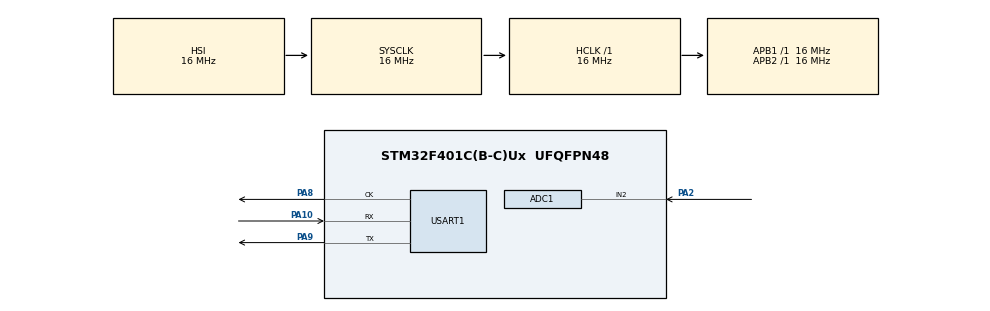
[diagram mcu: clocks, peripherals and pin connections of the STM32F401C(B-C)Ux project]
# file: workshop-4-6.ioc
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ADC1.Channel-0\#ChannelRegularConversion=ADC_CHANNEL_2
ADC1.NbrOfConversionFlag=1
ADC1.Rank-0\#ChannelRegularConversion=1
ADC1.SamplingTime-0\#ChannelRegularConversion=ADC_SAMPLETIME_3CYCLES
ADC1.master=1
Dma.ADC1.0.Direction=DMA_PERIPH_TO_MEMORY
Dma.ADC1.0.FIFOMode=DMA_FIFOMODE_DISABLE
Dma.ADC1.0.Instance=DMA2_Stream0
Dma.ADC1.0.MemDataAlignment=DMA_MDATAALIGN_HALFWORD
Dma.ADC1.0.MemInc=DMA_MINC_ENABLE
Dma.ADC1.0.Mode=DMA_CIRCULAR
Dma.ADC1.0.PeriphDataAlignment=DMA_PDATAALIGN_HALFWORD
Dma.ADC1.0.PeriphInc=DMA_PINC_DISABLE
Dma.ADC1.0.Priority=DMA_PRIORITY_LOW
Dma.Request0=ADC1
Dma.Request1=USART1_TX
Dma.USART1_TX.1.Direction=DMA_MEMORY_TO_PERIPH
Dma.USART1_TX.1.FIFOMode=DMA_FIFOMODE_DISABLE
Dma.USART1_TX.1.Instance=DMA2_Stream7
Dma.USART1_TX.1.MemDataAlignment=DMA_MDATAALIGN_BYTE
Dma.USART1_TX.1.MemInc=DMA_MINC_ENABLE
Dma.USART1_TX.1.Mode=DMA_NORMAL
Dma.USART1_TX.1.PeriphDataAlignment=DMA_PDATAALIGN_BYTE
Dma.USART1_TX.1.PeriphInc=DMA_PINC_DISABLE
Dma.USART1_TX.1.Priority=DMA_PRIORITY_LOW
Mcu.Family=STM32F4
Mcu.Name=STM32F401C(B-C)Ux
Mcu.Package=UFQFPN48
NVIC.DMA2_Stream0_IRQn=true\:0\:0\:false\:false\:true\:false\:true\:true
NVIC.DMA2_Stream7_IRQn=true\:0\:0\:false\:false\:true\:false\:true\:true
NVIC.PriorityGroup=NVIC_PRIORITYGROUP_4
NVIC.USART1_IRQn=true\:0\:0\:false\:false\:true\:false\:true\:true
PA10.Mode=Synchronous
PA10.Signal=USART1_RX
PA2.Signal=ADCx_IN2
PA8.Mode=Synchronous
PA8.Signal=USART1_CK
PA9.Mode=Synchronous
PA9.Signal=USART1_TX
ProjectManager.HeapSize=0x200
ProjectManager.StackSize=0x400
ProjectManager.TargetToolchain=STM32CubeIDE
RCC.AHBFreq_Value=16000000
RCC.APB1Freq_Value=16000000
RCC.APB2Freq_Value=16000000
RCC.CortexFreq_Value=16000000
RCC.HSE_VALUE=25000000
RCC.HSI_VALUE=16000000
RCC.LSE_VALUE=32768
RCC.SYSCLKFreq_VALUE=16000000
RCC.VCOOutputFreq_Value=192000000
SH.ADCx_IN2.0=ADC1_IN2,IN2
USART1.VirtualMode=VM_SYNC
board=custom

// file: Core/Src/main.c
/* USER CODE BEGIN Header */
/**
  ******************************************************************************
  * @file           : main.c
  * @brief          : Main program body
  ******************************************************************************
  * @attention
  *
  * Copyright (c) 2026 STMicroelectronics.
  * All rights reserved.
  *
  * This software is licensed under terms that can be found in the LICENSE file
  * in the root directory of this software component.
  * If no LICENSE file comes with this software, it is provided AS-IS.
  *
  ******************************************************************************
  */
/* USER CODE END Header */
#include "main.h"

/* USER CODE BEGIN Includes */
#include <string.h>
#include <stdio.h>
/* USER CODE END Includes */

ADC_HandleTypeDef hadc1;
DMA_HandleTypeDef hdma_adc1;

USART_HandleTypeDef husart1;
DMA_HandleTypeDef hdma_usart1_tx;

/* USER CODE BEGIN PV */
#define ADC_BUFFER_SIZE 100
#define UART_BUFFER_SIZE 16
uint16_t adc_buffer[ADC_BUFFER_SIZE];
char to_uart_buffer[UART_BUFFER_SIZE];
volatile uint16_t adc_average = 0;
volatile uint8_t new_data_ready = 0;
/* USER CODE END PV */

void SystemClock_Config(void);
static void MX_GPIO_Init(void);
static void MX_DMA_Init(void);
static void MX_ADC1_Init(void);
static void MX_USART1_Init(void);

/* USER CODE BEGIN 0 */

/* Індикація старту: блимає вбудованим світлодіодом задану кількість разів */
static void LED_StartupBlink(uint8_t times)
{
    for (uint8_t i = 0; i < times; i++) {
        HAL_GPIO_WritePin(LED_GPIO_Port, LED_Pin, GPIO_PIN_RESET); /* увімкнено */
        HAL_Delay(150);
        HAL_GPIO_WritePin(LED_GPIO_Port, LED_Pin, GPIO_PIN_SET);   /* вимкнено */
        HAL_Delay(150);
    }
}

/* Надсилає рядок через USART1 (блокуючий режим) */
static void USART_Print(const char *str)
{
    HAL_USART_Transmit(&husart1, (uint8_t *)str, strlen(str), HAL_MAX_DELAY);
}

/* USER CODE END 0 */

int main(void)
{

  /* MCU Configuration--------------------------------------------------------*/

  /* Reset of all peripherals, Initializes the Flash interface and the Systick. */
  HAL_Init();

  /* Configure the system clock */
  SystemClock_Config();

  /* Initialize all configured peripherals */
  MX_GPIO_Init();
  MX_DMA_Init();
  MX_ADC1_Init();
  MX_USART1_Init();
  /* USER CODE BEGIN 2 */

    /* Індикація успішного старту */
    LED_StartupBlink(4);
    USART_Print("Hello World\r\n");

    hadc1.Init.ContinuousConvMode = ENABLE;
    hadc1.Init.DMAContinuousRequests = ENABLE;
    HAL_ADC_Init(&hadc1);

    /* Запускаємо збір даних через DMA */
    HAL_ADC_Start_DMA(&hadc1, (uint32_t*)adc_buffer, ADC_BUFFER_SIZE);

  /* USER CODE END 2 */

  /* Infinite loop */
  /* USER CODE BEGIN WHILE */

      uint8_t light_percent = 0;

      while (1)
      {
        // Перевіряємо, чи переривання (колбек) виставило прапорець нових даних
        if (new_data_ready == 1)
        {
            new_data_ready = 0;

            light_percent = (adc_average * 100) / 4095;

            // Копіюємо середнє значення у буфер як рядок
            int len = snprintf(to_uart_buffer, UART_BUFFER_SIZE, "%u\r\n", adc_average);
            if (HAL_USART_GetState(&husart1) == HAL_USART_STATE_READY)
            {
                HAL_USART_Transmit_DMA(&husart1, (uint8_t*)to_uart_buffer, len);
            }
        }

    /* USER CODE END WHILE */

      }
}

void SystemClock_Config(void)
{
  RCC_OscInitTypeDef RCC_OscInitStruct = {0};
  RCC_ClkInitTypeDef RCC_ClkInitStruct = {0};

  /** Configure the main internal regulator output voltage
  */
  __HAL_RCC_PWR_CLK_ENABLE();
  __HAL_PWR_VOLTAGESCALING_CONFIG(PWR_REGULATOR_VOLTAGE_SCALE2);

  /** Initializes the RCC Oscillators according to the specified parameters
  * in the RCC_OscInitTypeDef structure.
  */
  RCC_OscInitStruct.OscillatorType = RCC_OSCILLATORTYPE_HSI;
  RCC_OscInitStruct.HSIState = RCC_HSI_ON;
  RCC_OscInitStruct.HSICalibrationValue = RCC_HSICALIBRATION_DEFAULT;
  RCC_OscInitStruct.PLL.PLLState = RCC_PLL_NONE;
  if (HAL_RCC_OscConfig(&RCC_OscInitStruct) != HAL_OK)
  {
    Error_Handler();
  }

  /** Initializes the CPU, AHB and APB buses clocks
  */
  RCC_ClkInitStruct.ClockType = RCC_CLOCKTYPE_HCLK|RCC_CLOCKTYPE_SYSCLK
                              |RCC_CLOCKTYPE_PCLK1|RCC_CLOCKTYPE_PCLK2;
  RCC_ClkInitStruct.SYSCLKSource = RCC_SYSCLKSOURCE_HSI;
  RCC_ClkInitStruct.AHBCLKDivider = RCC_SYSCLK_DIV1;
  RCC_ClkInitStruct.APB1CLKDivider = RCC_HCLK_DIV1;
  RCC_ClkInitStruct.APB2CLKDivider = RCC_HCLK_DIV1;

  if (HAL_RCC_ClockConfig(&RCC_ClkInitStruct, FLASH_LATENCY_0) != HAL_OK)
  {
    Error_Handler();
  }
}

static void MX_ADC1_Init(void)
{

  ADC_ChannelConfTypeDef sConfig = {0};

  /** Configure the global features of the ADC (Clock, Resolution, Data Alignment and number of conversion)
  */
  hadc1.Instance = ADC1;
  hadc1.Init.ClockPrescaler = ADC_CLOCK_SYNC_PCLK_DIV2;
  hadc1.Init.Resolution = ADC_RESOLUTION_12B;
  hadc1.Init.ScanConvMode = DISABLE;
  hadc1.Init.DiscontinuousConvMode = DISABLE;
  hadc1.Init.ExternalTrigConvEdge = ADC_EXTERNALTRIGCONVEDGE_NONE;
  hadc1.Init.ExternalTrigConv = ADC_SOFTWARE_START;
  hadc1.Init.DataAlign = ADC_DATAALIGN_RIGHT;
  hadc1.Init.NbrOfConversion = 1;
  hadc1.Init.DMAContinuousRequests = DISABLE;
  hadc1.Init.EOCSelection = ADC_EOC_SINGLE_CONV;
  if (HAL_ADC_Init(&hadc1) != HAL_OK)
  {
    Error_Handler();
  }

  /** Configure for the selected ADC regular channel its corresponding rank in the sequencer and its sample time.
  */
  sConfig.Channel = ADC_CHANNEL_2;
  sConfig.Rank = 1;
  sConfig.SamplingTime = ADC_SAMPLETIME_3CYCLES;
  if (HAL_ADC_ConfigChannel(&hadc1, &sConfig) != HAL_OK)
  {
    Error_Handler();
  }

}

static void MX_USART1_Init(void)
{

  husart1.Instance = USART1;
  husart1.Init.BaudRate = 115200;
  husart1.Init.WordLength = USART_WORDLENGTH_8B;
  husart1.Init.StopBits = USART_STOPBITS_1;
  husart1.Init.Parity = USART_PARITY_NONE;
  husart1.Init.Mode = USART_MODE_TX_RX;
  husart1.Init.CLKPolarity = USART_POLARITY_LOW;
  husart1.Init.CLKPhase = USART_PHASE_1EDGE;
  husart1.Init.CLKLastBit = USART_LASTBIT_DISABLE;
  if (HAL_USART_Init(&husart1) != HAL_OK)
  {
    Error_Handler();
  }

}

static void MX_DMA_Init(void)
{

  /* DMA controller clock enable */
  __HAL_RCC_DMA2_CLK_ENABLE();

  /* DMA interrupt init */
  /* DMA2_Stream0_IRQn interrupt configuration */
  HAL_NVIC_SetPriority(DMA2_Stream0_IRQn, 0, 0);
  HAL_NVIC_EnableIRQ(DMA2_Stream0_IRQn);
  /* DMA2_Stream7_IRQn interrupt configuration */
  HAL_NVIC_SetPriority(DMA2_Stream7_IRQn, 0, 0);
  HAL_NVIC_EnableIRQ(DMA2_Stream7_IRQn);

}

static void MX_GPIO_Init(void)
{

  /* GPIO Ports Clock Enable */
  __HAL_RCC_GPIOA_CLK_ENABLE();

  /* USER CODE BEGIN MX_GPIO_Init_2 */
  GPIO_InitTypeDef GPIO_InitStruct = {0};

  __HAL_RCC_GPIOC_CLK_ENABLE();

  /* Світлодіод вимкнено (активний рівень - низький) */
  HAL_GPIO_WritePin(LED_GPIO_Port, LED_Pin, GPIO_PIN_SET);

  GPIO_InitStruct.Pin = LED_Pin;
  GPIO_InitStruct.Mode = GPIO_MODE_OUTPUT_PP;
  GPIO_InitStruct.Pull = GPIO_NOPULL;
  GPIO_InitStruct.Speed = GPIO_SPEED_FREQ_LOW;
  HAL_GPIO_Init(LED_GPIO_Port, &GPIO_InitStruct);
  /* USER CODE END MX_GPIO_Init_2 */
}

/* USER CODE BEGIN 4 */

/* Колбек: Заповнено першу половину буфера (елементи 0..49) */
void HAL_ADC_ConvHalfCpltCallback(ADC_HandleTypeDef* hadc) {
    if (hadc->Instance == ADC1) {
        uint32_t sum = 0;
        // Процесор обробляє першу половину, поки DMA заповнює другу
        for (int i = 0; i < (ADC_BUFFER_SIZE / 2); i++) {
            sum += adc_buffer[i];
        }
        adc_average = sum / (ADC_BUFFER_SIZE / 2);
        new_data_ready = 1; // Сигнал для основного циклу (якщо знадобиться)
    }
}

/* Колбек: Заповнено другу половину буфера (елементи 50..99) */
void HAL_ADC_ConvCpltCallback(ADC_HandleTypeDef* hadc) {
    if (hadc->Instance == ADC1) {
        uint32_t sum = 0;
        // Процесор обробляє другу половину, поки DMA повертається на початок
        for (int i = (ADC_BUFFER_SIZE / 2); i < ADC_BUFFER_SIZE; i++) {
            sum += adc_buffer[i];
        }
        adc_average = sum / (ADC_BUFFER_SIZE / 2);
        new_data_ready = 1;
    }
}

/* USER CODE END 4 */

void Error_Handler(void)
{
  __disable_irq();
  while (1)
  {
  }
}
